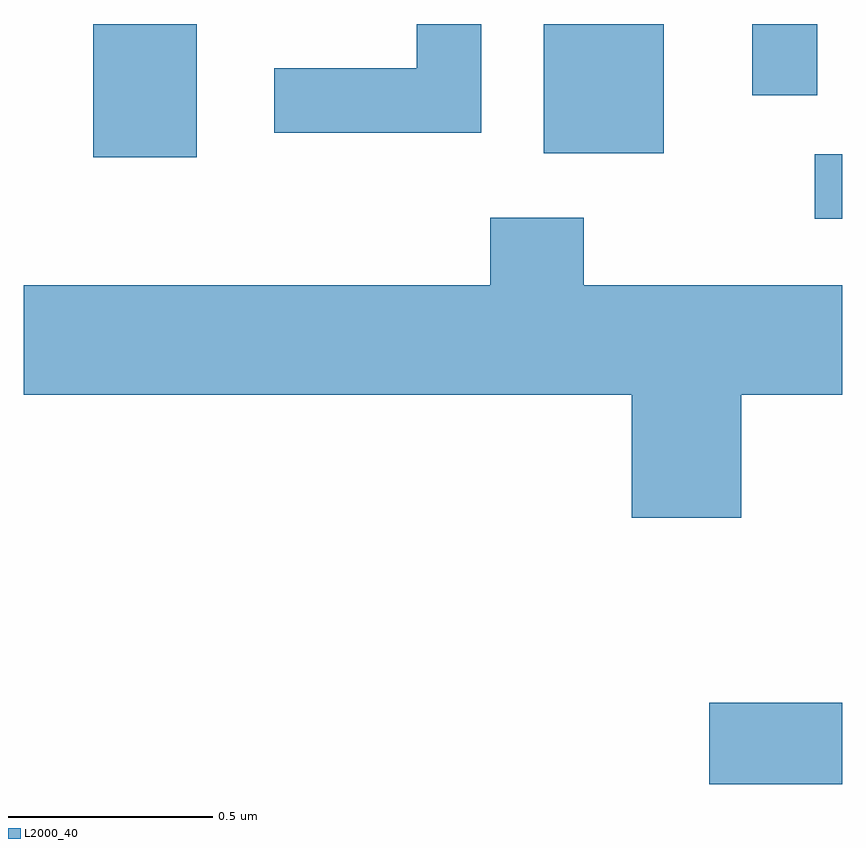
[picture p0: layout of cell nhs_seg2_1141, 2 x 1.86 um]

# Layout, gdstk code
import gdstk
lib = gdstk.Library(unit=1e-6, precision=1e-09)
def R(c, l, rs):  # rectangles x0, y0, x1, y1
    for r in rs: c.add(gdstk.rectangle(r[:2], r[2:], *l))
def P(c, l, *ps):  # polygons
    for p in ps: c.add(gdstk.Polygon(p, *l))
L2000_40 = (2000, 40)

nhs_seg2_1141 = lib.new_cell('nhs_seg2_1141')
R(nhs_seg2_1141, L2000_40, [(195.286,1022.946,195.611,1023.144), (195.543,1024.326,195.611,1024.484), (193.781,1024.476,194.034,1024.802), (194.881,1024.486,195.174,1024.802), (195.391,1024.628,195.549,1024.802)])
P(nhs_seg2_1141, L2000_40, [(194.729,1024.802),(194.571,1024.802),(194.571,1024.694),(194.223,1024.694),(194.223,1024.536),(194.729,1024.536)],
  [(195.364,1023.896),(195.611,1023.896),(195.611,1024.164),(194.979,1024.164),(194.979,1024.329),(194.751,1024.329),(194.751,1024.164),(193.611,1024.164),(193.611,1023.896),(195.096,1023.896),(195.096,1023.596),(195.364,1023.596)])

lib.write_gds('nhs_seg2_1141.gds')
